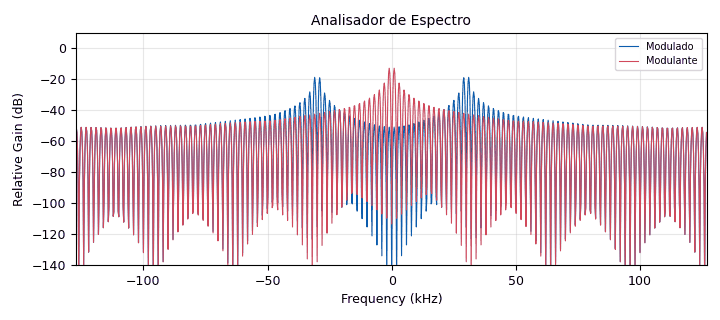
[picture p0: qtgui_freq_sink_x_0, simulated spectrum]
options:
  parameters:
    author: pedro
    generate_options: qt_gui
    id: m180108140_Exp05_AR02b
    output_language: python
    title: AR02b
  states: {}

blocks:
- name: samp_rate
  id: variable
  parameters:
    value: '254000'
  states: {}
- name: analog_sig_source_x_0
  id: analog_sig_source_x
  parameters:
    amp: '2'
    freq: '1000'
    offset: '-1'
    phase: '0'
    samp_rate: samp_rate
    type: float
    waveform: analog.GR_SQR_WAVE
  states: {}
- name: analog_sig_source_x_1
  id: analog_sig_source_x
  parameters:
    amp: '1'
    freq: '30000'
    offset: '0'
    phase: '0'
    samp_rate: samp_rate
    type: float
    waveform: analog.GR_COS_WAVE
  states: {}
- name: blocks_multiply_xx_0
  id: blocks_multiply_xx
  parameters:
    type: float
  states: {}
- name: blocks_throttle_0
  id: blocks_throttle
  parameters:
    samples_per_second: samp_rate
    type: float
  states: {}
- name: blocks_throttle_0_0
  id: blocks_throttle
  parameters:
    samples_per_second: samp_rate
    type: float
  states: {}
- name: qtgui_freq_sink_x_0
  id: qtgui_freq_sink_x
  parameters:
    bw: samp_rate
    ctrlpanel: 'True'
    fc: '0'
    fftsize: '1024'
    grid: 'True'
    label1: Modulado
    label2: Modulante
    name: Analisador de Espectro
    nconnections: '2'
    type: float
    wintype: firdes.WIN_BLACKMAN_hARRIS
  states: {}
- name: qtgui_time_sink_x_0
  id: qtgui_time_sink_x
  parameters:
    ctrlpanel: 'True'
    grid: 'True'
    label1: Modulado
    label2: Modulante
    name: Osciloscópio
    nconnections: '2'
    size: '1024'
    srate: samp_rate
    tr_mode: qtgui.TRIG_MODE_AUTO
    type: float
    yunit: V
  states: {state: disabled}

connections:
- [analog_sig_source_x_0, '0', blocks_throttle_0, '0']
- [analog_sig_source_x_1, '0', blocks_throttle_0_0, '0']
- [blocks_multiply_xx_0, '0', qtgui_freq_sink_x_0, '0']
- [blocks_multiply_xx_0, '0', qtgui_time_sink_x_0, '0']
- [blocks_throttle_0, '0', blocks_multiply_xx_0, '0']
- [blocks_throttle_0, '0', qtgui_freq_sink_x_0, '1']
- [blocks_throttle_0, '0', qtgui_time_sink_x_0, '1']
- [blocks_throttle_0_0, '0', blocks_multiply_xx_0, '1']

metadata:
  file_format: 1
